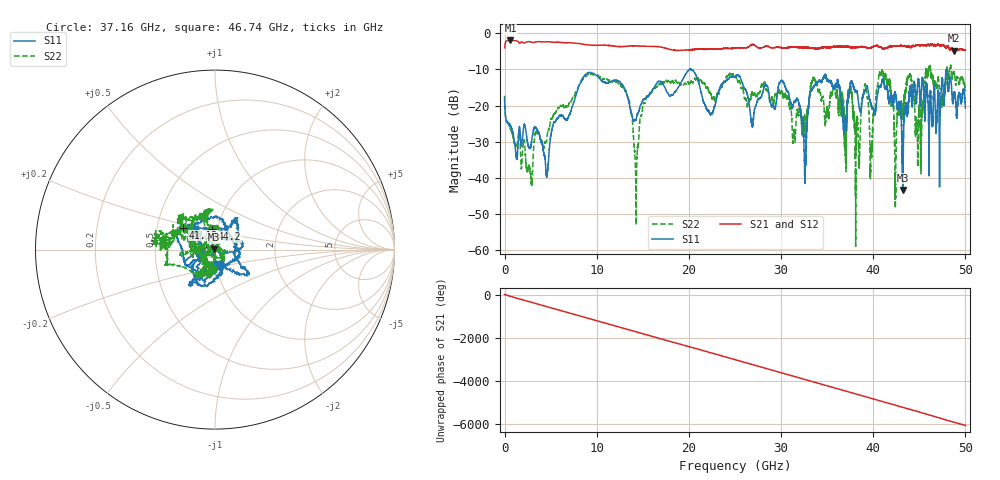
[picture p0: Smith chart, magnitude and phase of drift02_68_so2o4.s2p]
!Created with skrf (http://scikit-rf.org).
# Hz S RI R 50.0
!freq ReS11 ImS11 ReS21 ImS21 ReS12 ImS12 ReS22 ImS22
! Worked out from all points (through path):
!   10001 points, 300 kHz to 50 GHz, reference 50 ohm
!   highest |S21| = -2.00 dB at 630.3 MHz (marker M1); lowest = -4.8 dB at 48.77 GHz (marker M2)
!   group delay of S21, straight-line fit = 337 ps
!   lowest |S11| = -43.4 dB at 43.21 GHz (marker M3), VSWR 1.01, Z = 49.4 + j0.194 ohm
!   |S11| at or under -10 dB: start of sweep to 20.06 GHz; 20.20644 GHz to 20.2231 GHz (16.66 MHz wide, 0.0824 % of centre); 20.24 GHz to end of sweep (the widest 3 of 6)
!   |S22| runs from -58.9 to -8.8 dB; largest |S21 - S12| = 0.033
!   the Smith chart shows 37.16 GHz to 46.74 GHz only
!   S11 on the Smith chart (normalised r, x): 37.16 GHz: 1.05, -0.18; 41.12 GHz: 0.68, +0.17; 44.2 GHz: 0.94, +0.22; 46.74 GHz: 1.01, -0.17
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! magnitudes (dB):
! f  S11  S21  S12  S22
! 300 kHz  -17.8  -4.1  -4.0  -17.3
! 630.3 MHz  -25.6  -2.0  -2.0  -26.4
! 4.575 GHz  -39.3  -2.4  -2.4  -29.2
! 8.335 GHz  -13.0  -2.9  -2.9  -13.2
! 13.01 GHz  -15.3  -3.6  -3.6  -15.6
! 14.28 GHz  -23.8  -3.5  -3.5  -46.9
! 16.67 GHz  -13.3  -3.7  -3.7  -14.5
! 25 GHz  -12.1  -4.1  -4.1  -12.1
! 32.56 GHz  -39.5  -3.9  -3.9  -24.3
! 33.34 GHz  -15.8  -4.0  -4.0  -13.7
! 37.16 GHz  -20.8  -3.6  -3.6  -19.3
! 39.17 GHz  -15.5  -3.9  -3.8  -14.4
! 39.81 GHz  -20.0  -4.0  -4.0  -31.4
! 41.12 GHz  -13.3  -4.3  -4.3  -12.2
! 41.67 GHz  -18.4  -3.8  -3.9  -12.7
! 42.43 GHz  -17.0  -3.6  -3.6  -44.5
! 43.21 GHz  -43.4  -3.5  -3.6  -23.8
! 44.2 GHz  -18.7  -3.7  -3.7  -14.3
! 44.99 GHz  -14.3  -3.3  -3.3  -20.1
! 46.74 GHz  -21.7  -3.5  -3.5  -14.0
! 48.77 GHz  -16.9  -4.8  -4.8  -10.9
! 50 GHz  -20.7  -4.7  -4.6  -15.5
